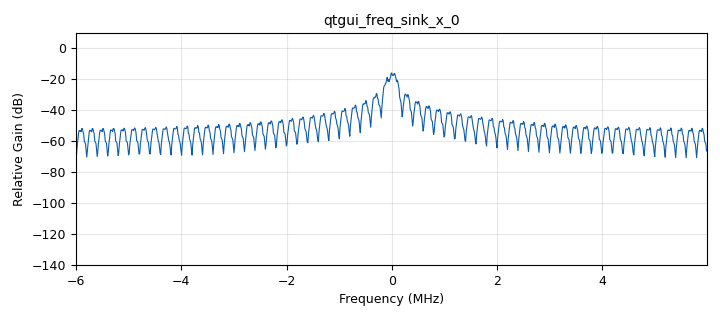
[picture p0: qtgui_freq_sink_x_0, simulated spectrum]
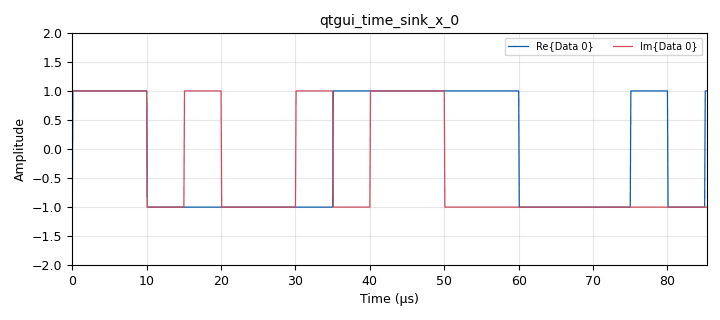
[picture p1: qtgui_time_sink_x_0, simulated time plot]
options:
  parameters:
    author: Marcelo Doallo
    generate_options: qt_gui
    id: OOK_Tx
    output_language: python
    title: OOK Tx
  states: {}

blocks:
- name: Freq
  id: variable_qtgui_entry
  parameters:
    comment: 0,3,1,1
    entry_signal: returnPressed
    gui_hint: 0,3,1,1
    label: 'Frec [MHz]:'
    type: real
    value: '40'
  states: {}
- name: IF_Gain
  id: variable_qtgui_range
  parameters:
    comment: 0,0,1,2
    gui_hint: 0,0,1,2
    start: '0'
    step: '1'
    stop: '50'
    value: '50'
  states: {}
- name: RF_Gain
  id: variable_qtgui_check_box
  parameters:
    comment: 0,2,1,1
    'false': '0'
    gui_hint: 0,2,1,1
    label: RF Gain (13 dB)
    'true': '13'
    type: int
    value: 'False'
  states: {}
- name: bit_rate
  id: variable
  parameters:
    value: '1000000'
  states: {}
- name: samp_rate
  id: variable
  parameters:
    value: '12000000'
  states: {}
- name: sample_per_bit
  id: variable
  parameters:
    value: '60'
  states: {}
- name: analog_random_source_x_0
  id: analog_random_source_x
  parameters:
    max: '2'
    min: '0'
    num_samps: '1000'
    repeat: 'True'
    type: byte
  states: {}
- name: blocks_add_const_vxx_0
  id: blocks_add_const_vxx
  parameters:
    const: '-1'
    type: float
  states: {}
- name: blocks_char_to_float_0
  id: blocks_char_to_float
  parameters:
    scale: '0.5'
  states: {}
- name: blocks_float_to_complex_1
  id: blocks_float_to_complex
  parameters: {}
  states: {}
- name: blocks_repeat_0
  id: blocks_repeat
  parameters:
    interp: sample_per_bit
    type: complex
  states: {}
- name: blocks_stream_demux_0
  id: blocks_stream_demux
  parameters:
    lengths: (1, 1)
    type: float
  states: {}
- name: osmosdr_sink_0
  id: osmosdr_sink
  parameters:
    bb_gain0: '0'
    freq0: Freq*1e6
    gain0: RF_Gain
    if_gain0: IF_Gain
    sample_rate: samp_rate
    sync: pc_clock
    type: fc32
  states: {}
- name: qtgui_freq_sink_x_0
  id: qtgui_freq_sink_x
  parameters:
    average: '0.05'
    bw: samp_rate
    ctrlpanel: 'True'
    fc: '0'
    fftsize: '1024'
    gui_hint: tab@1:0,0,1,1
    type: complex
  states: {}
- name: qtgui_time_sink_x_0
  id: qtgui_time_sink_x
  parameters:
    gui_hint: tab@0:0,0,1,1
    size: '1024'
    srate: samp_rate
    tr_mode: qtgui.TRIG_MODE_AUTO
    type: complex
    ymax: '2'
    ymin: '-2'
  states: {}
- name: tab
  id: qtgui_tab_widget
  parameters:
    gui_hint: 1,0,4,4
    label0: Tiempo
    label1: Espectro
    num_tabs: '2'
  states: {}
- name: virtual_sink_0
  id: virtual_sink
  parameters:
    stream_id: Re
  states: {}
- name: virtual_sink_0_0
  id: virtual_sink
  parameters:
    stream_id: Im
  states: {}
- name: virtual_source_0
  id: virtual_source
  parameters:
    stream_id: Re
  states: {}
- name: virtual_source_0_0
  id: virtual_source
  parameters:
    stream_id: Im
  states: {}

connections:
- [analog_random_source_x_0, '0', blocks_char_to_float_0, '0']
- [blocks_add_const_vxx_0, '0', blocks_stream_demux_0, '0']
- [blocks_char_to_float_0, '0', blocks_add_const_vxx_0, '0']
- [blocks_float_to_complex_1, '0', blocks_repeat_0, '0']
- [blocks_repeat_0, '0', osmosdr_sink_0, '0']
- [blocks_repeat_0, '0', qtgui_freq_sink_x_0, '0']
- [blocks_repeat_0, '0', qtgui_time_sink_x_0, '0']
- [blocks_stream_demux_0, '0', virtual_sink_0, '0']
- [blocks_stream_demux_0, '1', virtual_sink_0_0, '0']
- [virtual_source_0, '0', blocks_float_to_complex_1, '0']
- [virtual_source_0_0, '0', blocks_float_to_complex_1, '1']

metadata:
  file_format: 1
  grc_version: 3.10.12.0
